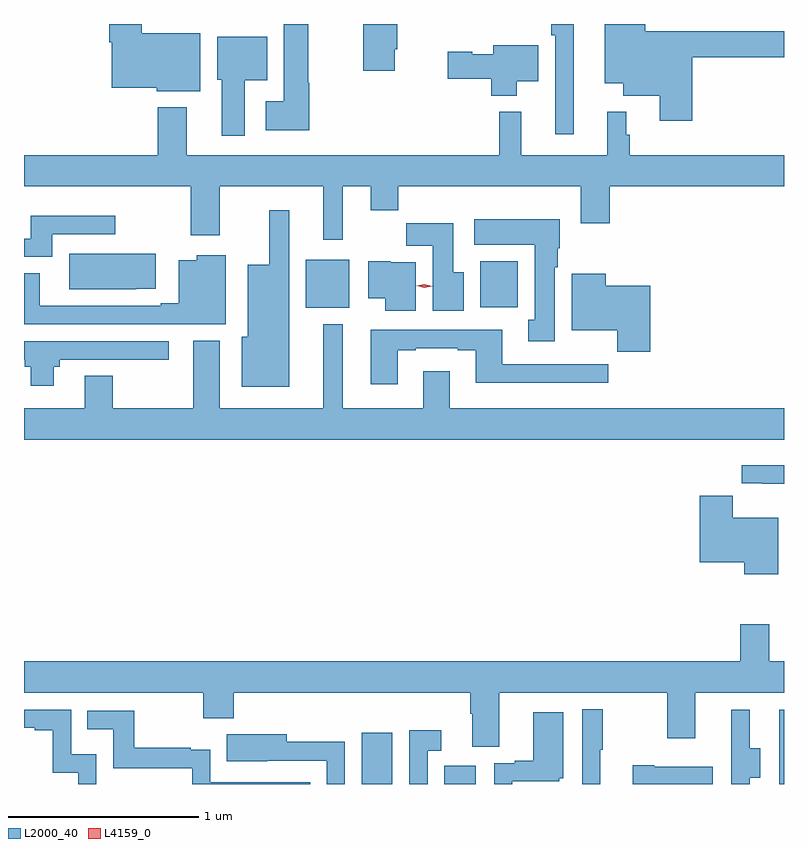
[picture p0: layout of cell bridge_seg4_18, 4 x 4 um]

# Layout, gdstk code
import gdstk
lib = gdstk.Library(unit=1e-6, precision=1e-09)
def R(c, l, rs):  # rectangles x0, y0, x1, y1
    for r in rs: c.add(gdstk.rectangle(r[:2], r[2:], *l))
def P(c, l, *ps):  # polygons
    for p in ps: c.add(gdstk.Polygon(p, *l))
L2000_40 = (2000, 40)
L4159_0 = (4159, 0)

bridge_seg4_18 = lib.new_cell('bridge_seg4_18')
R(bridge_seg4_18, L2000_40, [(1018.475,818.983,1018.636,819.253), (1018.91,818.983,1019.074,819.079), (1020.672,818.983,1020.697,819.373), (1018.181,821.489,1018.408,821.743), (1019.099,821.492,1019.296,821.734)])
P(bridge_seg4_18, L2000_40, [(1020.215,822.808),(1020.697,822.808),(1020.697,822.944),(1019.968,822.944),(1019.968,822.983),(1019.753,822.983),(1019.753,822.671),(1019.852,822.671),(1019.852,822.605),(1020.044,822.605),(1020.044,822.474),(1020.215,822.474)],
  [(1019.59,822.983),(1019.473,822.983),(1019.473,822.923),(1019.493,822.923),(1019.493,822.402),(1019.59,822.402)],
  [(1017.625,822.934),(1017.316,822.934),(1017.316,822.983),(1017.146,822.983),(1017.146,822.887),(1017.158,822.887),(1017.158,822.647),(1017.396,822.647),(1017.396,822.629),(1017.625,822.629)],
  [(1018.648,822.85),(1018.661,822.85),(1018.661,822.983),(1018.483,822.983),(1018.483,822.738),(1018.648,822.738)],
  [(1018.199,822.673),(1018.194,822.673),(1018.194,822.983),(1018.064,822.983),(1018.064,822.577),(1017.969,822.577),(1017.969,822.425),(1018.199,822.425)],
  [(1017.859,822.686),(1017.976,822.686),(1017.976,822.916),(1017.713,822.916),(1017.713,822.69),(1017.737,822.69),(1017.737,822.396),(1017.859,822.396)],
  [(1019.29,822.683),(1019.404,822.683),(1019.404,822.871),(1019.168,822.871),(1019.168,822.823),(1019.055,822.823),(1019.055,822.836),(1018.926,822.836),(1018.926,822.694),(1019.156,822.694),(1019.156,822.605),(1019.29,822.605)],
  [(1018.375,822.128),(1018.523,822.128),(1018.523,822.004),(1018.667,822.004),(1018.667,822.128),(1019.627,822.128),(1019.627,821.934),(1019.78,821.934),(1019.78,822.128),(1020.697,822.128),(1020.697,822.292),(1019.885,822.292),(1019.885,822.401),(1019.866,822.401),(1019.866,822.52),(1019.768,822.52),(1019.768,822.292),(1019.315,822.292),(1019.315,822.52),(1019.197,822.52),(1019.197,822.292),(1017.553,822.292),(1017.553,822.544),(1017.401,822.544),(1017.401,822.292),(1016.697,822.292),(1016.697,822.128),(1017.575,822.128),(1017.575,821.871),(1017.727,821.871),(1017.727,822.128),(1018.271,822.128),(1018.271,821.847),(1018.375,821.847)],
  [(1018.093,822.004),(1017.987,822.004),(1017.987,821.716),(1017.875,821.716),(1017.875,821.338),(1017.842,821.338),(1017.842,821.075),(1018.093,821.075)],
  [(1016.845,821.877),(1017.178,821.877),(1017.178,821.974),(1016.732,821.974),(1016.732,821.853),(1016.697,821.853),(1016.697,821.757),(1016.845,821.757)],
  [(1019.491,821.702),(1019.506,821.702),(1019.506,821.802),(1019.518,821.802),(1019.518,821.956),(1019.067,821.956),(1019.067,821.822),(1019.384,821.822),(1019.384,821.426),(1019.351,821.426),(1019.351,821.313),(1019.491,821.313)],
  [(1019.011,821.676),(1018.957,821.676),(1018.957,821.935),(1018.708,821.935),(1018.708,821.816),(1018.847,821.816),(1018.847,821.475),(1019.011,821.475)],
  [(1017.287,821.589),(1017.39,821.589),(1017.39,821.773),(1016.936,821.773),(1016.936,821.588),(1017.287,821.588)],
  [(1017.76,821.767),(1017.606,821.767),(1017.606,821.74),(1017.512,821.74),(1017.512,821.513),(1017.416,821.513),(1017.416,821.499),(1016.779,821.499),(1016.779,821.671),(1016.697,821.671),(1016.697,821.403),(1017.76,821.403)],
  [(1018.759,821.728),(1018.626,821.728),(1018.626,821.734),(1018.508,821.734),(1018.508,821.54),(1018.598,821.54),(1018.598,821.475),(1018.759,821.475)],
  [(1019.993,821.605),(1019.758,821.605),(1019.758,821.668),(1019.579,821.668),(1019.579,821.372),(1019.819,821.372),(1019.819,821.257),(1019.993,821.257)],
  [(1020.697,820.96),(1018.939,820.96),(1018.939,821.155),(1018.799,821.155),(1018.799,820.96),(1018.375,820.96),(1018.375,821.404),(1018.271,821.404),(1018.271,820.96),(1017.727,820.96),(1017.727,821.317),(1017.587,821.317),(1017.587,820.96),(1017.165,820.96),(1017.165,821.132),(1017.017,821.132),(1017.017,820.96),(1016.697,820.96),(1016.697,820.796),(1020.697,820.796)],
  [(1018.663,821.265),(1018.759,821.265),(1018.759,821.277),(1018.979,821.277),(1018.979,821.265),(1019.075,821.265),(1019.075,821.096),(1019.772,821.096),(1019.772,821.191),(1019.663,821.191),(1019.663,821.193),(1019.215,821.193),(1019.215,821.373),(1018.523,821.373),(1018.523,821.088),(1018.663,821.088)],
  [(1016.854,821.178),(1016.885,821.178),(1016.885,821.217),(1017.46,821.217),(1017.46,821.313),(1016.697,821.313),(1016.697,821.217),(1016.702,821.217),(1016.702,821.178),(1016.732,821.178),(1016.732,821.078),(1016.854,821.078)],
  [(1020.697,820.66),(1020.474,820.66),(1020.474,820.565),(1020.583,820.565),(1020.583,820.563),(1020.697,820.563)],
  [(1020.667,820.384),(1020.427,820.384),(1020.427,820.5),(1020.254,820.5),(1020.254,820.151),(1020.488,820.151),(1020.488,820.088),(1020.667,820.088)],
  [(1019.197,819.464),(1020.082,819.464),(1020.082,819.225),(1020.229,819.225),(1020.229,819.464),(1020.697,819.464),(1020.697,819.628),(1020.619,819.628),(1020.619,819.823),(1020.467,819.823),(1020.467,819.628),(1016.697,819.628),(1016.697,819.464),(1017.64,819.464),(1017.64,819.329),(1017.8,819.329),(1017.8,819.464),(1019.045,819.464),(1019.045,819.352),(1019.057,819.352),(1019.057,819.178),(1019.197,819.178)],
  [(1019.731,819.163),(1019.743,819.163),(1019.743,819.376),(1019.634,819.376),(1019.634,818.983),(1019.731,818.983)],
  [(1017.078,819.139),(1016.946,819.139),(1016.946,819.375),(1016.697,819.375),(1016.697,819.279),(1016.753,819.279),(1016.753,819.267),(1016.849,819.267),(1016.849,819.041),(1016.982,819.041),(1016.982,818.983),(1017.078,818.983)],
  [(1020.516,819.016),(1020.571,819.016),(1020.571,819.171),(1020.517,819.171),(1020.517,819.373),(1020.419,819.373),(1020.419,819.159),(1020.42,819.159),(1020.42,818.983),(1020.516,818.983)],
  [(1018.204,818.991),(1017.678,818.991),(1017.678,819.163),(1017.575,819.163),(1017.575,819.175),(1017.277,819.175),(1017.277,819.369),(1017.031,819.369),(1017.031,819.272),(1017.166,819.272),(1017.166,819.066),(1017.582,819.066),(1017.582,818.983),(1018.204,818.983)],
  [(1019.267,818.997),(1019.514,818.997),(1019.514,819.012),(1019.536,819.012),(1019.536,819.361),(1019.378,819.361),(1019.378,819.106),(1019.279,819.106),(1019.279,819.093),(1019.172,819.093),(1019.172,818.983),(1019.267,818.983)],
  [(1018.821,819.159),(1018.894,819.159),(1018.894,819.265),(1018.725,819.265),(1018.725,818.983),(1018.821,818.983)],
  [(1018.386,819.206),(1018.081,819.206),(1018.081,819.244),(1017.763,819.244),(1017.763,819.104),(1017.977,819.104),(1017.977,819.105),(1018.29,819.105),(1018.29,818.983),(1018.386,818.983)],
  [(1020.323,819.073),(1020.013,819.073),(1020.013,819.081),(1019.901,819.081),(1019.901,818.983),(1020.323,818.983)])
P(bridge_seg4_18, L4159_0, [(1018.804,821.594),(1018.763,821.605),(1018.763,821.605),(1018.763,821.606),(1018.804,821.614),(1018.845,821.603),(1018.845,821.603),(1018.845,821.603)])

lib.write_gds('bridge_seg4_18.gds')
